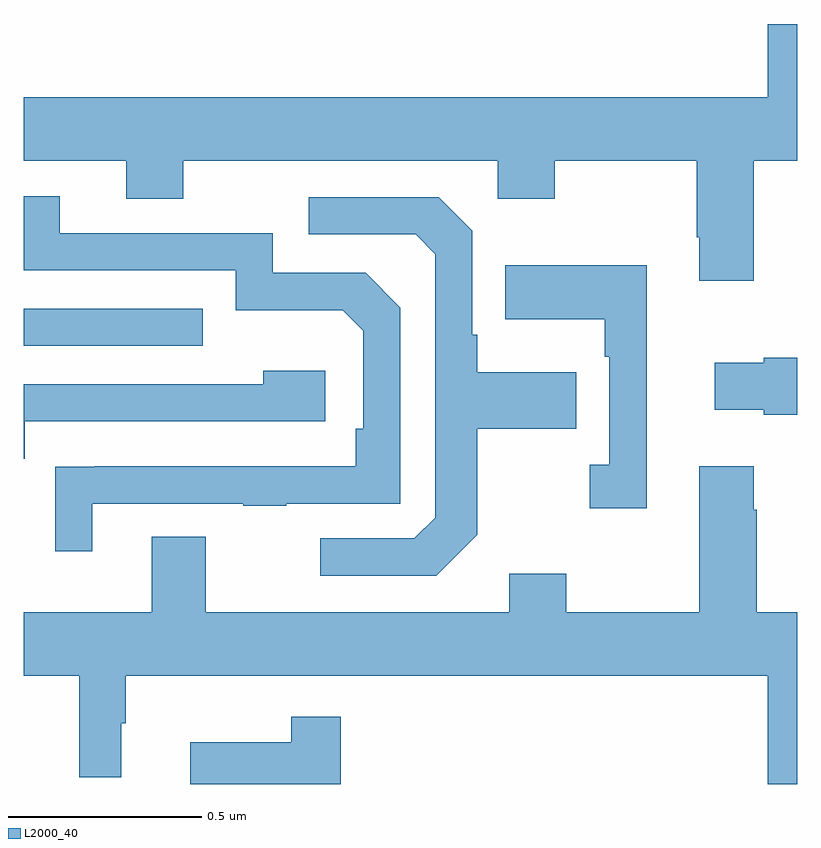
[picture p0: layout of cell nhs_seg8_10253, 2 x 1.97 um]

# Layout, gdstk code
import gdstk
lib = gdstk.Library(unit=1e-6, precision=1e-09)
def R(c, l, rs):  # rectangles x0, y0, x1, y1
    for r in rs: c.add(gdstk.rectangle(r[:2], r[2:], *l))
def P(c, l, *ps):  # polygons
    for p in ps: c.add(gdstk.Polygon(p, *l))
L2000_40 = (2000, 40)

nhs_seg8_10253 = lib.new_cell('nhs_seg8_10253')
R(nhs_seg8_10253, L2000_40, [(247,1104.033,247.463,1104.129)])
P(nhs_seg8_10253, L2000_40, [(248.887,1104.512),(249,1104.512),(249,1104.865),(248.924,1104.865),(248.924,1104.676),(247,1104.676),(247,1104.512),(247.265,1104.512),(247.265,1104.413),(247.413,1104.413),(247.413,1104.512),(248.226,1104.512),(248.226,1104.413),(248.373,1104.413),(248.373,1104.512),(248.74,1104.512),(248.74,1104.313),(248.747,1104.313),(248.747,1104.201),(248.887,1104.201)],
  [(247.177,1103.625),(247.567,1103.625),(247.567,1103.62),(247.679,1103.62),(247.679,1103.625),(247.974,1103.625),(247.974,1104.132),(247.884,1104.222),(247.644,1104.222),(247.644,1104.324),(247.093,1104.324),(247.093,1104.42),(247,1104.42),(247,1104.228),(247.548,1104.228),(247.548,1104.125),(247.825,1104.125),(247.878,1104.072),(247.878,1103.818),(247.858,1103.818),(247.858,1103.721),(247.183,1103.721),(247.183,1103.72),(247.081,1103.72),(247.081,1103.502),(247.177,1103.502)],
  [(248.173,1103.545),(248.173,1103.818),(248.429,1103.818),(248.429,1103.965),(248.173,1103.965),(248.173,1104.061),(248.16,1104.061),(248.16,1104.33),(248.073,1104.417),(247.737,1104.417),(247.737,1104.321),(248.013,1104.321),(248.064,1104.27),(248.064,1103.589),(248.01,1103.535),(247.767,1103.535),(247.767,1103.439),(248.067,1103.439)],
  [(248.611,1104.241),(248.245,1104.241),(248.245,1104.101),(248.502,1104.101),(248.502,1104.005),(248.514,1104.005),(248.514,1103.726),(248.463,1103.726),(248.463,1103.613),(248.611,1103.613)],
  [(249,1104.002),(248.913,1104.002),(248.913,1103.989),(248.787,1103.989),(248.787,1103.867),(248.913,1103.867),(248.913,1103.855),(249,1103.855)],
  [(247.003,1103.838),(247.78,1103.838),(247.78,1103.968),(247.619,1103.968),(247.619,1103.934),(247,1103.934),(247,1103.741),(247.003,1103.741)],
  [(249,1103.344),(248.895,1103.344),(248.895,1103.609),(248.887,1103.609),(248.887,1103.722),(248.747,1103.722),(248.747,1103.344),(248.403,1103.344),(248.403,1103.443),(248.255,1103.443),(248.255,1103.344),(247.471,1103.344),(247.471,1103.539),(247.331,1103.539),(247.331,1103.344),(247,1103.344),(247,1103.18),(247.143,1103.18),(247.143,1102.917),(247.252,1102.917),(247.252,1103.057),(247.264,1103.057),(247.264,1103.18),(248.924,1103.18),(248.924,1102.9),(249,1102.9)],
  [(247.82,1103.074),(247.692,1103.074),(247.692,1103.008),(247.43,1103.008),(247.43,1102.9),(247.82,1102.9)])

lib.write_gds('nhs_seg8_10253.gds')
